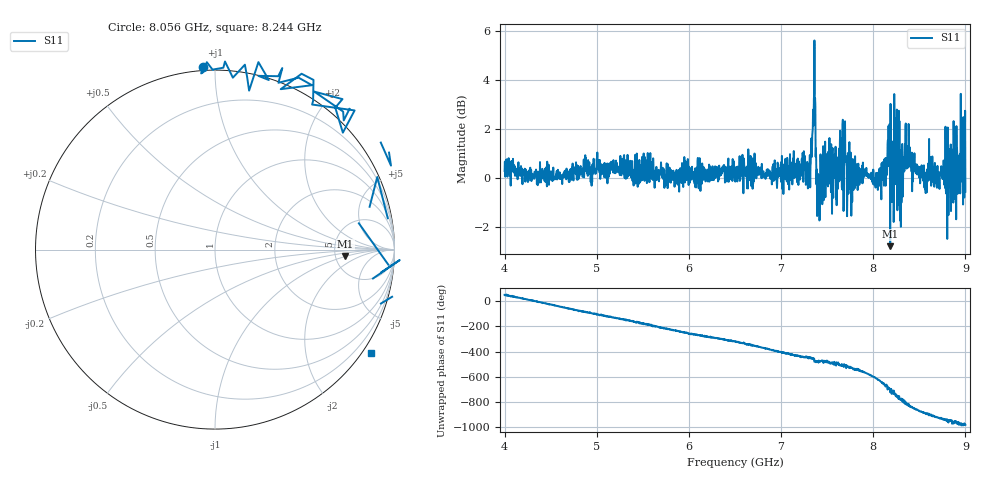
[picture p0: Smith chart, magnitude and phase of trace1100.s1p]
! Created with skrf 1.8.0 (http://scikit-rf.org).
# Hz S RI R 50.0
!freq ReS11 ImS11
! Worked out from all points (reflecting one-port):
!   1601 points, 4 GHz to 9 GHz, reference 50 ohm
!   lowest |S11| = -2.8 dB at 8.184 GHz (marker M1), VSWR 6.34, Z = 310 - j46.8 ohm
!   phase of S11 starts at 52 deg and turns -1033 deg over the sweep
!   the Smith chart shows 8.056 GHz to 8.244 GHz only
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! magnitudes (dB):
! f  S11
! 4 GHz  0.3
! 4.625 GHz  -0.2
! 5.25 GHz  0.1
! 5.875 GHz  0.2
! 6.5 GHz  0.3
! 7.125 GHz  0.1
! 7.294 GHz  0.2
! 7.316 GHz  -0.4
! 7.35 GHz  2.2
! 7.378 GHz  1.2
! 7.4 GHz  0.0
! 7.409 GHz  -0.8
! 7.509 GHz  -0.3
! 7.591 GHz  1.3
! 7.65 GHz  1.6
! 7.75 GHz  0.4
! 8.038 GHz  0.2
! 8.184 GHz  -2.8
! 8.209 GHz  0.3
! 8.253 GHz  0.8
! 8.312 GHz  1.4
! 8.334 GHz  0.5
! 8.375 GHz  0.4
! 8.556 GHz  -0.4
! 8.772 GHz  0.3
! 8.825 GHz  0.7
! 8.972 GHz  0.4
! 9 GHz  -0.5
